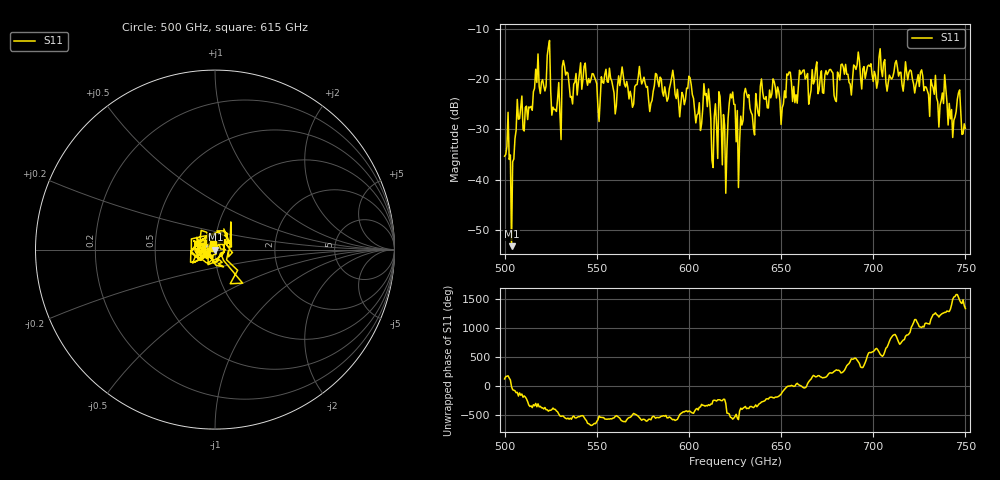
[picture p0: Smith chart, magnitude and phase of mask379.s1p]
!Created with skrf (http://scikit-rf.org).
# GHz S MA R 50.0
!freq magS11 angS11
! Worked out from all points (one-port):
!   401 points, 500 GHz to 750 GHz, reference 50 ohm
!   lowest |S11| = -53.2 dB at 503.8 GHz (marker M1), VSWR 1.00, Z = 50.2 - j0.0187 ohm
!   |S11| at or under -10 dB: start of sweep to end of sweep
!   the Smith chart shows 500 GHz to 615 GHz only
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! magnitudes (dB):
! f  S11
! 500 GHz  -35.3
! 503.8 GHz  -53.2
! 508.1 GHz  -27.8
! 513.8 GHz  -25.7
! 516.9 GHz  -18.0
! 523.8 GHz  -13.6
! 526.9 GHz  -26.0
! 531.2 GHz  -17.5
! 532.5 GHz  -17.4
! 550.6 GHz  -25.4
! 562.5 GHz  -21.3
! 593.8 GHz  -22.0
! 600 GHz  -19.4
! 605.6 GHz  -24.7
! 609.4 GHz  -22.9
! 612.5 GHz  -36.1
! 617.5 GHz  -28.1
! 619.4 GHz  -29.2
! 622.5 GHz  -23.0
! 625 GHz  -25.0
! 626.9 GHz  -41.5
! 631.2 GHz  -22.8
! 634.4 GHz  -27.1
! 640 GHz  -22.5
! 656.2 GHz  -24.4
! 687.5 GHz  -21.0
! 718.8 GHz  -20.1
! 750 GHz  -29.8
